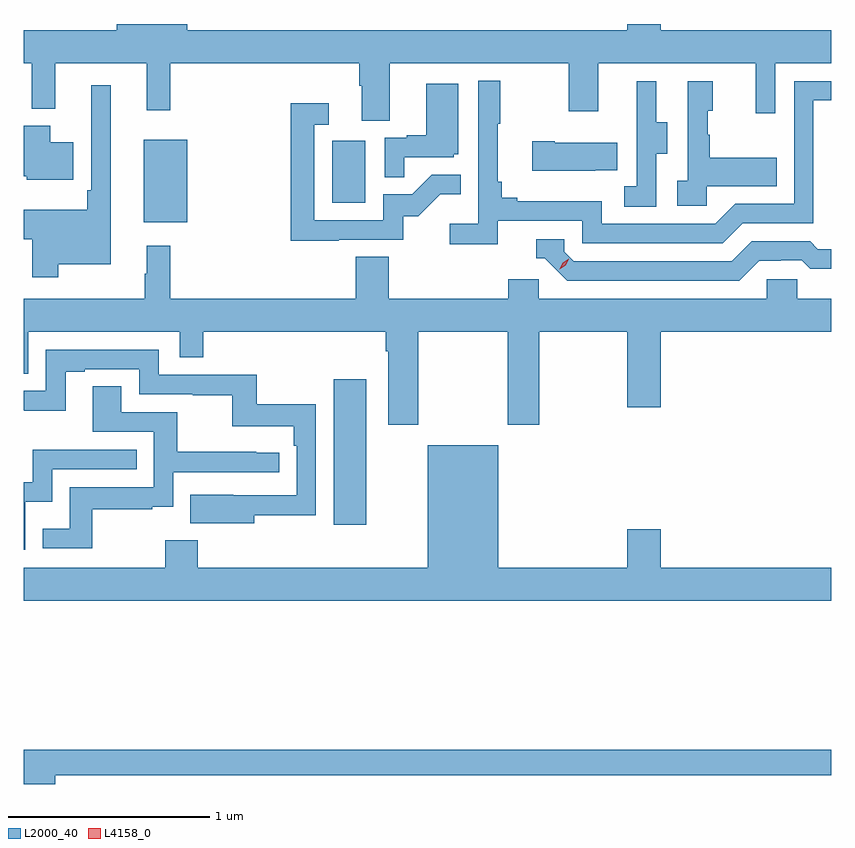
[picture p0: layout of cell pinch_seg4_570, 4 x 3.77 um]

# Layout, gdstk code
import gdstk
lib = gdstk.Library(unit=1e-6, precision=1e-09)
def R(c, l, rs):  # rectangles x0, y0, x1, y1
    for r in rs: c.add(gdstk.rectangle(r[:2], r[2:], *l))
def P(c, l, *ps):  # polygons
    for p in ps: c.add(gdstk.Polygon(p, *l))
L2000_40 = (2000, 40)
L4158_0 = (4158, 0)

pinch_seg4_570 = lib.new_cell('pinch_seg4_570')
R(pinch_seg4_570, L2000_40, [(1086.629,769.224,1086.79,769.945), (1085.687,770.723,1085.902,771.133), (1086.62,770.82,1086.784,771.127)])
P(pinch_seg4_570, L2000_40, [(1086.907,771.512),(1087.792,771.512),(1087.792,771.273),(1087.939,771.273),(1087.939,771.512),(1088.72,771.512),(1088.72,771.264),(1088.817,771.264),(1088.817,771.512),(1089.093,771.512),(1089.093,771.676),(1088.248,771.676),(1088.248,771.706),(1088.084,771.706),(1088.084,771.676),(1085.902,771.676),(1085.902,771.706),(1085.552,771.706),(1085.552,771.676),(1085.093,771.676),(1085.093,771.512),(1085.131,771.512),(1085.131,771.287),(1085.249,771.287),(1085.249,771.512),(1085.702,771.512),(1085.702,771.279),(1085.819,771.279),(1085.819,771.512),(1086.755,771.512),(1086.755,771.4),(1086.767,771.4),(1086.767,771.226),(1086.907,771.226)],
  [(1087.442,770.73),(1087.86,770.73),(1087.86,770.619),(1088.557,770.619),(1088.656,770.718),(1089.006,770.718),(1089.006,771.327),(1089.093,771.327),(1089.093,771.423),(1088.91,771.423),(1088.91,770.814),(1088.619,770.814),(1088.52,770.715),(1087.956,770.715),(1087.956,770.827),(1087.537,770.827),(1087.537,770.846),(1087.46,770.846),(1087.46,770.923),(1087.441,770.923),(1087.441,771.211),(1087.453,771.211),(1087.453,771.424),(1087.344,771.424),(1087.344,770.716),(1087.203,770.716),(1087.203,770.614),(1087.442,770.614)],
  [(1088.478,770.903),(1088.825,770.903),(1088.825,771.043),(1088.491,771.043),(1088.491,771.158),(1088.481,771.158),(1088.481,771.276),(1088.506,771.276),(1088.506,771.421),(1088.382,771.421),(1088.382,770.93),(1088.331,770.93),(1088.331,770.805),(1088.478,770.805)],
  [(1088.226,771.064),(1088.281,771.064),(1088.281,771.219),(1088.227,771.219),(1088.227,771.421),(1088.129,771.421),(1088.129,771.207),(1088.13,771.207),(1088.13,770.903),(1088.067,770.903),(1088.067,770.8),(1088.226,770.8)],
  [(1086.977,771.045),(1087.224,771.045),(1087.224,771.06),(1087.246,771.06),(1087.246,771.409),(1087.088,771.409),(1087.088,771.154),(1086.989,771.154),(1086.989,771.141),(1086.882,771.141),(1086.882,770.947),(1086.977,770.947)],
  [(1085.263,770.516),(1085.524,770.516),(1085.524,771.403),(1085.427,771.403),(1085.427,770.881),(1085.407,770.881),(1085.407,770.785),(1085.093,770.785),(1085.093,770.638),(1085.134,770.638),(1085.134,770.451),(1085.263,770.451)],
  [(1086.653,770.637),(1086.972,770.637),(1086.972,770.754),(1087.048,770.754),(1087.155,770.861),(1087.259,770.861),(1087.259,770.96),(1087.115,770.96),(1087.017,770.862),(1086.873,770.862),(1086.873,770.733),(1086.531,770.733),(1086.531,771.207),(1086.604,771.207),(1086.604,771.313),(1086.415,771.313),(1086.415,770.632),(1086.653,770.632)],
  [(1085.338,771.121),(1085.224,771.121),(1085.224,771.202),(1085.093,771.202),(1085.093,770.951),(1085.106,770.951),(1085.106,770.933),(1085.338,770.933)],
  [(1087.925,770.981),(1088.033,770.981),(1088.033,771.118),(1087.723,771.118),(1087.723,771.126),(1087.611,771.126),(1087.611,770.978),(1087.925,770.978)],
  [(1088.737,770.532),(1088.844,770.532),(1088.844,770.535),(1088.947,770.535),(1088.989,770.493),(1089.093,770.493),(1089.093,770.589),(1089.028,770.589),(1088.989,770.628),(1088.7,770.628),(1088.601,770.529),(1087.818,770.529),(1087.77,770.577),(1087.77,770.64),(1087.631,770.64),(1087.631,770.544),(1087.674,770.544),(1087.785,770.433),(1088.638,770.433)],
  [(1087.047,770.18),(1087.492,770.18),(1087.492,769.719),(1087.647,769.719),(1087.647,770.18),(1088.084,770.18),(1088.084,769.806),(1088.248,769.806),(1088.248,770.18),(1089.093,770.18),(1089.093,770.344),(1088.925,770.344),(1088.925,770.442),(1088.775,770.442),(1088.775,770.344),(1087.644,770.344),(1087.644,770.442),(1087.493,770.442),(1087.493,770.344),(1086.902,770.344),(1086.902,770.552),(1086.737,770.552),(1086.737,770.344),(1085.819,770.344),(1085.819,770.608),(1085.702,770.608),(1085.702,770.468),(1085.691,770.468),(1085.691,770.344),(1085.093,770.344),(1085.093,769.972),(1085.113,769.972),(1085.113,770.18),(1085.865,770.18),(1085.865,770.053),(1085.981,770.053),(1085.981,770.18),(1086.887,770.18),(1086.887,770.084),(1086.899,770.084),(1086.899,769.719),(1087.047,769.719)],
  [(1086.235,769.27),(1086.54,769.27),(1086.54,769.822),(1086.247,769.822),(1086.247,769.968),(1085.76,769.968),(1085.76,770.091),(1085.202,770.091),(1085.202,769.887),(1085.093,769.887),(1085.093,769.791),(1085.094,769.791),(1085.094,769.79),(1085.299,769.79),(1085.299,769.983),(1085.395,769.983),(1085.395,769.995),(1085.664,769.995),(1085.664,769.872),(1085.929,769.872),(1085.929,769.867),(1086.126,769.867),(1086.126,769.712),(1086.431,769.712),(1086.431,769.616),(1086.444,769.616),(1086.444,769.371),(1086.131,769.371),(1086.131,769.372),(1085.917,769.372),(1085.917,769.232),(1086.235,769.232)],
  [(1085.431,769.302),(1085.729,769.302),(1085.729,769.313),(1085.832,769.313),(1085.832,769.485),(1086.358,769.485),(1086.358,769.581),(1086.245,769.581),(1086.245,769.586),(1085.852,769.586),(1085.852,769.782),(1085.575,769.782),(1085.575,769.91),(1085.435,769.91),(1085.435,769.686),(1085.736,769.686),(1085.736,769.41),(1085.32,769.41),(1085.32,769.204),(1085.185,769.204),(1085.185,769.107),(1085.431,769.107)],
  [(1089.093,769.012),(1088.248,769.012),(1088.248,769.201),(1088.084,769.201),(1088.084,769.012),(1087.444,769.012),(1087.444,769.618),(1087.094,769.618),(1087.094,769.012),(1085.954,769.012),(1085.954,769.147),(1085.794,769.147),(1085.794,769.012),(1085.093,769.012),(1085.093,768.848),(1089.093,768.848)],
  [(1085.1,769.337),(1085.232,769.337),(1085.232,769.5),(1085.651,769.5),(1085.651,769.596),(1085.136,769.596),(1085.136,769.435),(1085.093,769.435),(1085.093,769.101),(1085.1,769.101)],
  [(1085.248,767.982),(1089.093,767.982),(1089.093,768.11),(1085.093,768.11),(1085.093,767.939),(1085.248,767.939)])
P(pinch_seg4_570, L4158_0, [(1087.748,770.49),(1087.748,770.491),(1087.764,770.523),(1087.794,770.543),(1087.794,770.543),(1087.794,770.542),(1087.778,770.51),(1087.748,770.49)])

lib.write_gds('pinch_seg4_570.gds')
